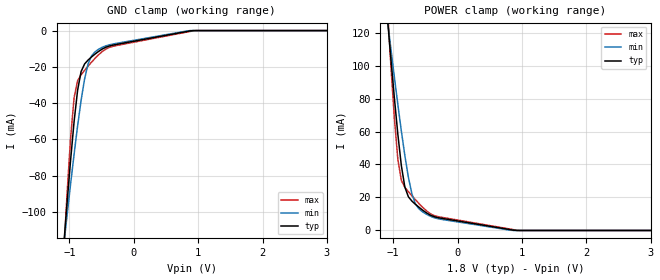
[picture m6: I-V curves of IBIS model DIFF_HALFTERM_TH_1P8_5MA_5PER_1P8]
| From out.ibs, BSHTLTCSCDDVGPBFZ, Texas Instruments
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|   Model Cell DIFF_HALFTERM_TH_1P8_5MA_5PER_1P8
|DIFF_HALFTERM_TH_1P8_5MA_5PER_1P8
[Model]   DIFF_HALFTERM_TH_1P8_5MA_5PER_1P8
Model_type   Input
Polarity   Non-Inverting
Vinl =  0.77
Vinh =  1.12
C_comp   1.5249p   1.4275p   1.6205p
|[Input load] diff_halfterm_5mA
|[Nom VDDS voltage] 1.8V
|[Output drive] NA
|[supplytol] 5
|[temp] ind
[Model Spec]
Vinl   0.77   0.77   0.77
Vinh   1.12   1.12   1.12
D_overshoot_high 2.34 2.34 2.34
D_overshoot_low -0.3 -0.3 -0.3
D_overshoot_time 1E-9 1E-9 1E-9
S_overshoot_high 1.65 1.65 1.65
S_overshoot_low 0 0 0
[Temperature Range]   25   125   -40
[Voltage Range]   1.8001   1.71   1.89
| Nom Voltages:
|   BIAS2=0.9, BIASFET=1.8, VDD=1, VDDS=1.8001, BUS_BIAS1=0, BUS_BIAS3=0,
|   VSS=0, VSSS=0
| Min Voltages:
|   BIAS2=0.855, BIASFET=1.71, VDD=0.9, VDDS=1.71, BUS_BIAS1=0,
|   BUS_BIAS3=0, VSS=0, VSSS=0
| Max Voltages:
|   BIAS2=0.945, BIASFET=1.89, VDD=1.1, VDDS=1.89, BUS_BIAS1=0,
|   BUS_BIAS3=0, VSS=0, VSSS=0
[POWER_clamp]
|   voltage   I(typ)   I(min)   I(max)
-1.8V     482.2mA    372.5mA    644.8mA
-1.091V   129.8mA    128.3mA    135.9mA
-1.036V   104.8mA    110.6mA    100.8mA
-981.9mV  80.7mA     93.21mA    68.61mA
-927.3mV  58.41mA    76.4mA     43.17mA
-872.8mV  39.33mA    60.31mA    30.34mA
-818.2mV  26.33mA    45.4mA     26.18mA
-709.1mV  17.83mA    22.29mA    21.07mA
-654.6mV  15.89mA    16.19mA    18.68mA
-490.9mV  10.9mA     10.02mA    12.22mA
927.3mV   0A         0A         108.8uA
3.6V      0A         0A         0A
[GND_clamp]
|   voltage   I(typ)   I(min)   I(max)
-1.8V     -471.8mA   -363.8mA   -632.4mA
-1.091V   -119.9mA   -119.6mA   -124.7mA
-1.036V   -95.17mA   -102mA     -90.31mA
-981.9mV  -71.65mA   -84.84mA   -59.56mA
-927.3mV  -50.28mA   -68.3mA    -37.12mA
-872.8mV  -32.97mA   -52.67mA   -27.68mA
-818.2mV  -22.6mA    -38.48mA   -24.38mA
-709.1mV  -16.24mA   -18.33mA   -19.6mA
-545.5mV  -11.46mA   -10.29mA   -13.32mA
-327.3mV  -8.061mA   -7.451mA   -8.71mA
927.3mV   0A         0A         -129.4uA
3.6V      0A         0A         0A
